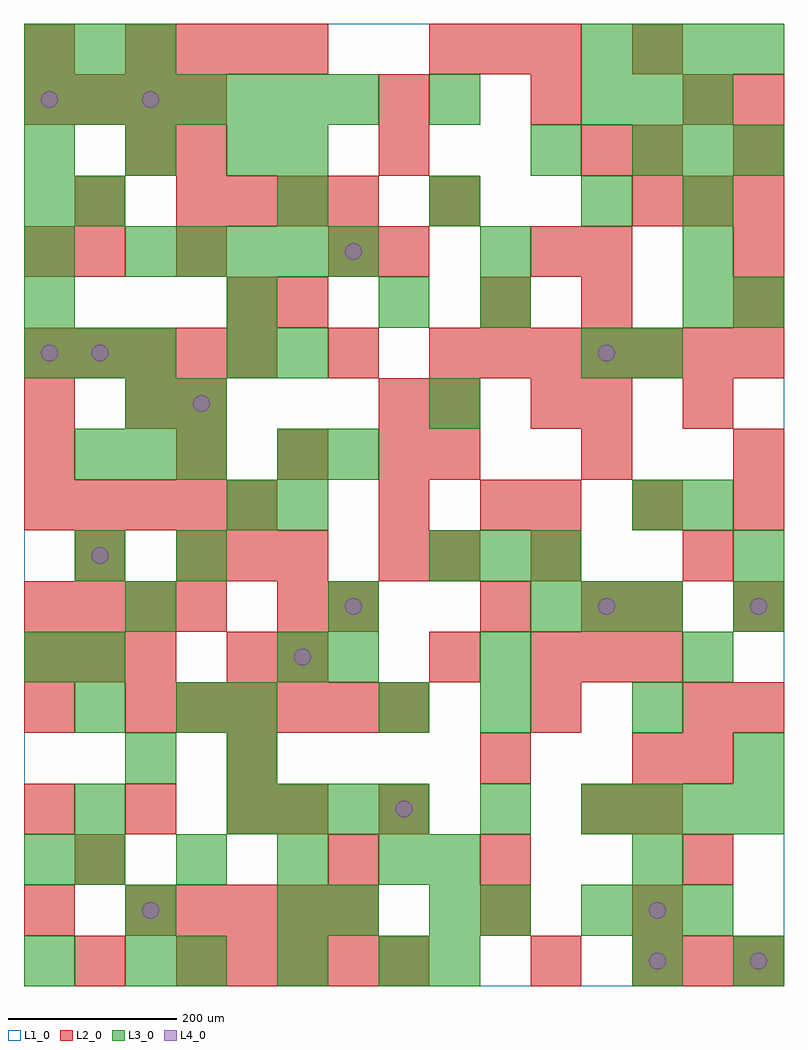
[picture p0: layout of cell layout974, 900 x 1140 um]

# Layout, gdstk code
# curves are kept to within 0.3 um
import gdstk
lib = gdstk.Library(unit=1e-6, precision=1e-09)
def R(c, l, rs):  # rectangles x0, y0, x1, y1
    for r in rs: c.add(gdstk.rectangle(r[:2], r[2:], *l))
def A(c, l, x, y, w, h, nx, ny, dx, dy):  # array of equal rectangles
    R(c, l, [(x+i*dx, y+j*dy, x+i*dx+w, y+j*dy+h) for i in range(nx) for j in range(ny)])
def P(c, l, *ps):  # polygons
    for p in ps: c.add(gdstk.Polygon(p, *l))
L1_0 = (1, 0)
L2_0 = (2, 0)
L3_0 = (3, 0)
L4_0 = (4, 0)

layout974 = lib.new_cell('layout974')
R(layout974, L1_0, [(0,0,900,1140)])
A(layout974, L2_0, 180, 0, 60, 60, 5, 1, 60, 0)
A(layout974, L2_0, 720, 0, 60, 60, 3, 2, 60, 900)
A(layout974, L2_0, 120, 60, 60, 60, 5, 1, 60, 0)
A(layout974, L2_0, 60, 120, 60, 60, 1, 3, 0, 360)
A(layout974, L2_0, 360, 120, 60, 60, 1, 3, 0, 300)
A(layout974, L2_0, 0, 180, 60, 60, 3, 1, 120, 0)
A(layout974, L2_0, 660, 180, 60, 60, 1, 3, 0, 240)
A(layout974, L2_0, 120, 300, 60, 60, 6, 1, 60, 0)
A(layout974, L2_0, 600, 300, 60, 60, 1, 4, 0, 180)
A(layout974, L2_0, 780, 300, 60, 60, 1, 3, 0, 180)
A(layout974, L2_0, 0, 360, 60, 60, 3, 1, 60, 0)
A(layout974, L2_0, 600, 360, 60, 60, 3, 1, 60, 0)
A(layout974, L2_0, 0, 420, 60, 60, 4, 2, 60, 600)
A(layout974, L2_0, 180, 480, 60, 60, 3, 1, 60, 0)
A(layout974, L2_0, 0, 540, 60, 60, 5, 2, 60, 180)
A(layout974, L2_0, 600, 540, 60, 60, 3, 1, 120, 0)
A(layout974, L2_0, 180, 600, 60, 60, 3, 1, 120, 0)
A(layout974, L2_0, 480, 600, 60, 60, 3, 1, 180, 0)
A(layout974, L2_0, 480, 720, 60, 60, 7, 1, 60, 0)
A(layout974, L2_0, 180, 900, 60, 60, 4, 1, 60, 0)
A(layout974, L2_0, 180, 960, 60, 60, 3, 1, 240, 0)
A(layout974, L2_0, 420, 1020, 60, 60, 3, 1, 180, 0)
A(layout974, L2_0, 120, 1080, 60, 60, 4, 1, 60, 0)
A(layout974, L2_0, 480, 1080, 60, 60, 3, 1, 60, 0)
R(layout974, L2_0, [(60,0,120,60), (600,0,660,60), (0,60,60,120), (540,60,600,120), (720,60,780,120), (540,120,600,180), (780,120,840,180), (300,180,360,240), (420,180,480,240), (720,180,780,240), (240,240,300,300), (540,240,600,300), (720,240,780,300), (780,240,840,300), (0,300,60,360), (840,300,900,360), (240,360,300,420), (300,360,360,420), (480,360,540,420), (300,420,360,480), (540,420,600,480), (720,420,780,480), (840,420,900,480), (420,480,480,540), (480,480,540,540), (420,540,480,600), (540,540,600,600), (0,600,60,660), (0,660,60,720), (120,660,180,720), (180,660,240,720), (420,660,480,720), (480,660,540,720), (240,780,300,840), (300,780,360,840), (540,780,600,840), (660,780,720,840), (840,780,900,840), (0,840,60,900), (180,840,240,900), (360,840,420,900), (420,840,480,900), (660,840,720,900), (840,840,900,900), (60,900,120,960), (480,900,540,960), (120,960,180,1020), (720,960,780,1020), (840,960,900,1020), (840,1020,900,1080), (0,1080,60,1140), (720,1080,780,1140)])
A(layout974, L3_0, 180, 0, 60, 60, 3, 1, 120, 0)
A(layout974, L3_0, 480, 0, 60, 60, 1, 3, 0, 60)
A(layout974, L3_0, 540, 60, 60, 60, 1, 3, 0, 120)
A(layout974, L3_0, 660, 60, 60, 60, 3, 2, 60, 960)
A(layout974, L3_0, 60, 120, 60, 60, 4, 1, 120, 0)
A(layout974, L3_0, 240, 180, 60, 60, 4, 1, 60, 0)
A(layout974, L3_0, 660, 180, 60, 60, 4, 2, 60, 900)
A(layout974, L3_0, 180, 300, 60, 60, 1, 3, 0, 180)
A(layout974, L3_0, 720, 300, 60, 60, 1, 3, 0, 120)
A(layout974, L3_0, 120, 420, 60, 60, 3, 1, 240, 0)
A(layout974, L3_0, 480, 480, 60, 60, 3, 1, 60, 0)
A(layout974, L3_0, 60, 600, 60, 60, 3, 1, 60, 0)
A(layout974, L3_0, 0, 720, 60, 60, 3, 2, 60, 360)
A(layout974, L3_0, 0, 780, 60, 60, 1, 3, 0, 60)
A(layout974, L3_0, 780, 780, 60, 60, 1, 3, 0, 60)
A(layout974, L3_0, 120, 840, 60, 60, 5, 1, 60, 0)
A(layout974, L3_0, 300, 900, 60, 60, 3, 1, 180, 0)
A(layout974, L3_0, 0, 960, 60, 60, 3, 1, 120, 0)
A(layout974, L3_0, 720, 960, 60, 60, 3, 1, 60, 0)
A(layout974, L3_0, 0, 1020, 60, 60, 7, 1, 60, 0)
R(layout974, L3_0, [(0,0,60,60), (120,0,180,60), (720,0,780,60), (840,0,900,60), (120,60,180,120), (300,60,360,120), (360,60,420,120), (0,120,60,180), (720,120,780,180), (60,180,120,240), (120,240,180,300), (240,240,300,300), (840,240,900,300), (60,300,120,360), (240,300,300,360), (420,300,480,360), (0,360,60,420), (60,360,120,420), (300,360,360,420), (360,360,420,420), (540,360,600,420), (780,360,840,420), (660,420,720,480), (840,420,900,480), (60,480,120,540), (840,480,900,540), (240,540,300,600), (300,540,360,600), (780,540,840,600), (300,600,360,660), (360,600,420,660), (120,660,180,720), (480,660,540,720), (240,720,300,780), (300,720,360,780), (660,720,720,780), (720,720,780,780), (240,780,300,840), (420,780,480,840), (540,780,600,840), (840,780,900,840), (540,840,600,900), (60,900,120,960), (300,960,360,1020), (600,960,660,1020), (480,1020,540,1080)])
P(layout974, L4_0, [(40,750),(39.239,753.827),(37.071,757.071),(33.827,759.239),(30,760),(26.173,759.239),(22.929,757.071),(20.761,753.827),(20,750),(20.761,746.173),(22.929,742.929),(26.173,740.761),(30,740),(33.827,740.761),(37.071,742.929),(39.239,746.173)],
  [(40,1050),(39.239,1053.827),(37.071,1057.071),(33.827,1059.239),(30,1060),(26.173,1059.239),(22.929,1057.071),(20.761,1053.827),(20,1050),(20.761,1046.173),(22.929,1042.929),(26.173,1040.761),(30,1040),(33.827,1040.761),(37.071,1042.929),(39.239,1046.173)],
  [(100,510),(99.239,513.827),(97.071,517.071),(93.827,519.239),(90,520),(86.173,519.239),(82.929,517.071),(80.761,513.827),(80,510),(80.761,506.173),(82.929,502.929),(86.173,500.761),(90,500),(93.827,500.761),(97.071,502.929),(99.239,506.173)],
  [(100,750),(99.239,753.827),(97.071,757.071),(93.827,759.239),(90,760),(86.173,759.239),(82.929,757.071),(80.761,753.827),(80,750),(80.761,746.173),(82.929,742.929),(86.173,740.761),(90,740),(93.827,740.761),(97.071,742.929),(99.239,746.173)],
  [(160,90),(159.239,93.827),(157.071,97.071),(153.827,99.239),(150,100),(146.173,99.239),(142.929,97.071),(140.761,93.827),(140,90),(140.761,86.173),(142.929,82.929),(146.173,80.761),(150,80),(153.827,80.761),(157.071,82.929),(159.239,86.173)],
  [(160,1050),(159.239,1053.827),(157.071,1057.071),(153.827,1059.239),(150,1060),(146.173,1059.239),(142.929,1057.071),(140.761,1053.827),(140,1050),(140.761,1046.173),(142.929,1042.929),(146.173,1040.761),(150,1040),(153.827,1040.761),(157.071,1042.929),(159.239,1046.173)],
  [(220,690),(219.239,693.827),(217.071,697.071),(213.827,699.239),(210,700),(206.173,699.239),(202.929,697.071),(200.761,693.827),(200,690),(200.761,686.173),(202.929,682.929),(206.173,680.761),(210,680),(213.827,680.761),(217.071,682.929),(219.239,686.173)],
  [(340,390),(339.239,393.827),(337.071,397.071),(333.827,399.239),(330,400),(326.173,399.239),(322.929,397.071),(320.761,393.827),(320,390),(320.761,386.173),(322.929,382.929),(326.173,380.761),(330,380),(333.827,380.761),(337.071,382.929),(339.239,386.173)],
  [(400,450),(399.239,453.827),(397.071,457.071),(393.827,459.239),(390,460),(386.173,459.239),(382.929,457.071),(380.761,453.827),(380,450),(380.761,446.173),(382.929,442.929),(386.173,440.761),(390,440),(393.827,440.761),(397.071,442.929),(399.239,446.173)],
  [(400,870),(399.239,873.827),(397.071,877.071),(393.827,879.239),(390,880),(386.173,879.239),(382.929,877.071),(380.761,873.827),(380,870),(380.761,866.173),(382.929,862.929),(386.173,860.761),(390,860),(393.827,860.761),(397.071,862.929),(399.239,866.173)],
  [(460,210),(459.239,213.827),(457.071,217.071),(453.827,219.239),(450,220),(446.173,219.239),(442.929,217.071),(440.761,213.827),(440,210),(440.761,206.173),(442.929,202.929),(446.173,200.761),(450,200),(453.827,200.761),(457.071,202.929),(459.239,206.173)],
  [(700,450),(699.239,453.827),(697.071,457.071),(693.827,459.239),(690,460),(686.173,459.239),(682.929,457.071),(680.761,453.827),(680,450),(680.761,446.173),(682.929,442.929),(686.173,440.761),(690,440),(693.827,440.761),(697.071,442.929),(699.239,446.173)],
  [(700,750),(699.239,753.827),(697.071,757.071),(693.827,759.239),(690,760),(686.173,759.239),(682.929,757.071),(680.761,753.827),(680,750),(680.761,746.173),(682.929,742.929),(686.173,740.761),(690,740),(693.827,740.761),(697.071,742.929),(699.239,746.173)],
  [(760,30),(759.239,33.827),(757.071,37.071),(753.827,39.239),(750,40),(746.173,39.239),(742.929,37.071),(740.761,33.827),(740,30),(740.761,26.173),(742.929,22.929),(746.173,20.761),(750,20),(753.827,20.761),(757.071,22.929),(759.239,26.173)],
  [(760,90),(759.239,93.827),(757.071,97.071),(753.827,99.239),(750,100),(746.173,99.239),(742.929,97.071),(740.761,93.827),(740,90),(740.761,86.173),(742.929,82.929),(746.173,80.761),(750,80),(753.827,80.761),(757.071,82.929),(759.239,86.173)],
  [(880,30),(879.239,33.827),(877.071,37.071),(873.827,39.239),(870,40),(866.173,39.239),(862.929,37.071),(860.761,33.827),(860,30),(860.761,26.173),(862.929,22.929),(866.173,20.761),(870,20),(873.827,20.761),(877.071,22.929),(879.239,26.173)],
  [(880,450),(879.239,453.827),(877.071,457.071),(873.827,459.239),(870,460),(866.173,459.239),(862.929,457.071),(860.761,453.827),(860,450),(860.761,446.173),(862.929,442.929),(866.173,440.761),(870,440),(873.827,440.761),(877.071,442.929),(879.239,446.173)])

lib.write_gds('layout974.gds')
